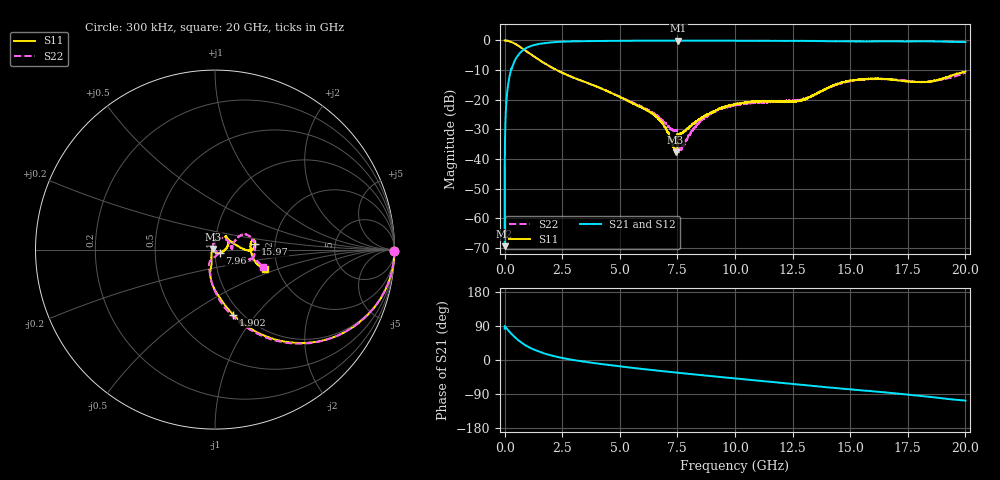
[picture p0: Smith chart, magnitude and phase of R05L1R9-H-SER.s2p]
!{R05L1R9}
!Johanson Technology Inc.
!www.johansontechnology.com
!Test Board Conditions:
!Substrate Type  RO4350B
!Substrate Thickness  10 mil
!Substrate Dk  3.66
!TL Type: GCPW
!TL Trace Width  22 mil
!TL Gap  25 mil
!Electrode orientation  Horizontal
!DUT TOPOLOGY	SERIES
!Mounting Pad LxW  11x14.5 mil
! Created Wed Nov 25 17:33:21 2020
! 2 Port Network Data from SP1.SP block
! freq  magS11  angS11  magS21  angS21  magS12  angS12  magS22  angS22
# khz S ma R 50
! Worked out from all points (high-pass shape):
!   20001 points, 300 kHz to 20 GHz, reference 50 ohm
!   highest |S21| = -0.06 dB at 7.536 GHz (marker M1); lowest = -69.5 dB at 300 kHz (marker M2)
!   |S21| within 3 dB of the highest: 837.3 MHz to end of sweep
!   lowest |S11| = -37.8 dB at 7.422 GHz (marker M3), VSWR 1.03, Z = 48.8 + j0.276 ohm
!   |S11| at or under -10 dB: 2.267 GHz to end of sweep
!   |S22| runs from -37.7 to 0.0 dB; largest |S21 - S12| = 0.015
!   S11 on the Smith chart (normalised r, x): 300 kHz: open; 1.902 GHz: 0.92, -0.77; 7.96 GHz: 1.06, -0.04; 15.97 GHz: 1.57, +0.11; 20 GHz: 1.71, -0.41
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300  1 -0.3  0.0003365 82.8  0.0003127 85.8  0.9988 -0.4
111300  0.9905 -8.0  0.1319 81.8  0.1324 81.8  0.9909 -8.0
186300  0.9748 -13.4  0.2172 76.4  0.2181 76.3  0.9749 -13.4
306300  0.9386 -20.8  0.3351 68.5  0.3363 68.5  0.9375 -20.9
824300  0.7107 -47.1  0.6966 42.1  0.6962 42.1  0.7093 -47.7
1295300  0.5301 -62.0  0.8398 27.0  0.8391 26.8  0.5285 -63.0
1902300  0.3768 -74.2  0.918 14.0  0.919 14.0  0.3732 -76.2
3334300  0.21 -92.1  0.9704 -3.4  0.9704 -3.4  0.2083 -92.6
6667300  0.04796 -115.0  0.9912 -28.3  0.9915 -28.2  0.05183 -105.0
7422300  0.01286 167.3  0.9899 -33.0  0.9913 -33.0  0.03051 -39.7
7536300  0.02585 -62.6  0.9928 -33.7  0.9924 -33.7  0.01359 -176.5
7614300  0.02647 -57.8  0.9917 -34.2  0.9918 -34.2  0.01506 167.8
7960300  0.03248 -31.8  0.9924 -36.4  0.9919 -36.4  0.02369 121.1
8795300  0.05609 -0.6  0.9902 -41.5  0.991 -41.5  0.0522 85.7
1.00003e7  0.0833 28.0  0.9881 -48.6  0.9883 -48.6  0.08094 50.6
1.25873e7  0.09497 36.9  0.9836 -63.5  0.9849 -63.7  0.09771 7.7
1.33343e7  0.1163 14.2  0.9799 -67.9  0.9813 -68.1  0.1165 22.1
1.46403e7  0.1943 -1.5  0.9666 -75.4  0.9689 -75.6  0.1899 26.9
1.59713e7  0.2257 8.1  0.9633 -82.5  0.9647 -82.7  0.2237 5.5
1.66673e7  0.2197 13.4  0.9655 -86.4  0.956 -86.2  0.2213 -6.9
1.83843e7  0.2019 -3.2  0.9646 -96.9  0.9613 -96.9  0.2018 -15.6
2e7  0.2992 -21.4  0.9405 -107.1  0.9297 -107.0  0.2859 -20.2
